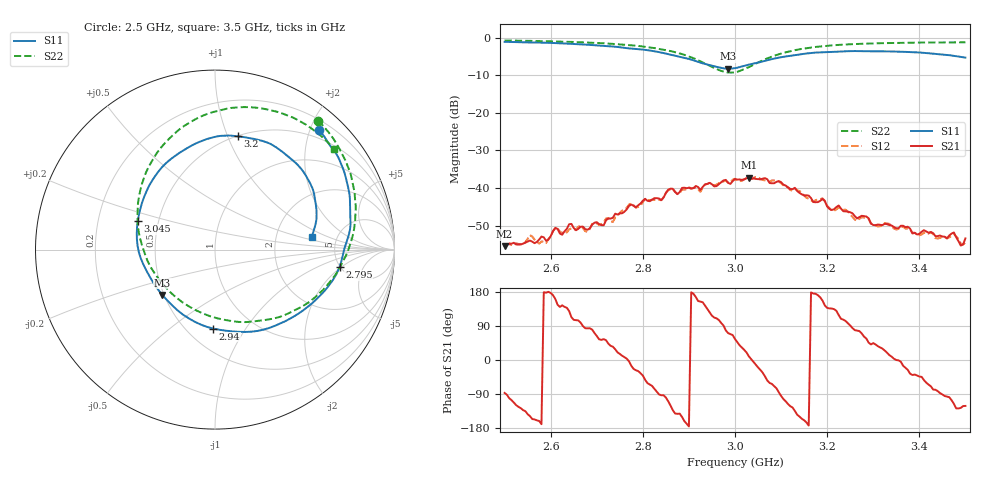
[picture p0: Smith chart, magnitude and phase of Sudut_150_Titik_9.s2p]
# Hz S RI R 50
! CMT, C1220, 16058040, 17.2.0/1
! Date: 15/08/2018 09:48:08
! Data: Format (Calibration Info)
! Freq  S11: Re/Im (F2)  S21: Re/Im (F2)  S12: Re/Im (F2)  S22: Re/Im (F2)
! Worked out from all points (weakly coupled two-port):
!   201 points, 2.5 GHz to 3.5 GHz, reference 50 ohm
!   highest |S21| = -37.28 dB at 3.03 GHz (marker M1); lowest = -55.5 dB at 2.5 GHz (marker M2)
!   lowest |S11| = -8.2 dB at 2.985 GHz (marker M3), VSWR 2.26, Z = 24.5 - j14.5 ohm
!   |S11| at or under -10 dB: nowhere
!   |S22| runs from -9.3 to -0.7 dB; largest |S21 - S12| = 0.0012
!   S11 on the Smith chart (normalised r, x): 2.5 GHz: 0.35, +2.14; 2.795 GHz: 4.95, -1.87; 2.94 GHz: 0.66, -0.73; 3.045 GHz: 0.38, +0.16; 3.2 GHz: 0.50, +1.09; 3.5 GHz: 3.24, +0.67
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2.5e9  0.5769 0.6675  9.23e-05 -0.00168  0.000168 -0.00179  0.5752 0.7182
2.54e9  0.6263 0.6019  -0.00122 -0.00135  -0.00109 -0.00139  0.6205 0.6686
2.555e9  0.641 0.5799  -0.0017 -0.00106  -0.00194 -0.00135  0.6364 0.6493
2.59e9  0.6859 0.516  -0.00199 7.78e-05  -0.00185 -5.48e-05  0.673 0.5963
2.61e9  0.7027 0.4768  -0.0028 0.000957  -0.00278 0.000885  0.693 0.562
2.625e9  0.717 0.4413  -0.00194 0.0014  -0.0019 0.00166  0.7068 0.5357
2.64e9  0.729 0.4003  -0.00208 0.00255  -0.00173 0.00223  0.7215 0.5074
2.67e9  0.7462 0.3262  2.73e-05 0.00307  0.000263 0.00293  0.7475 0.4443
2.795e9  0.6941 -0.0963  0.0051 -0.00356  0.0047 -0.00339  0.7675 0.078
2.835e9  0.5956 -0.2463  -8.67e-05 -0.00725  0.00019 -0.00698  0.7064 -0.0783
2.94e9  -0.00957 -0.4402  -0.00802 0.00804  -0.00822 0.00783  0.1733 -0.4039
2.985e9  -0.2937 -0.2524  0.00382 0.0111  0.00342 0.0114  -0.1815 -0.2935
3e9  -0.3629 -0.1518  0.00752 0.0109  0.00821 0.0104  -0.2809 -0.2033
3.03e9  -0.435 0.0558  0.0135 0.00231  0.0133 0.00244  -0.4054 0.0199
3.045e9  -0.4301 0.1607  0.0129 -0.00278  0.0137 -0.00274  -0.4307 0.1405
3.105e9  -0.2609 0.4923  -0.00248 -0.0108  -0.00268 -0.0105  -0.3241 0.5379
3.17e9  0.0123 0.631  -0.00649 0.000522  -0.00655 3.35e-05  -0.0708 0.7448
3.2e9  0.1268 0.6309  -0.00419 0.00383  -0.00411 0.0041  0.0422 0.7796
3.335e9  0.4791 0.4512  0.00314 0.000712  0.00329 0.000556  0.4176 0.7422
3.475e9  0.5582 0.1338  -0.0011 -0.00231  -0.000975 -0.00224  0.6368 0.5895
3.49e9  0.547 0.0957  -0.00102 -0.00138  -0.00122 -0.00136  0.654 0.5706
3.5e9  0.5394 0.0725  -0.00111 -0.00183  -0.00108 -0.00155  0.6653 0.5579
